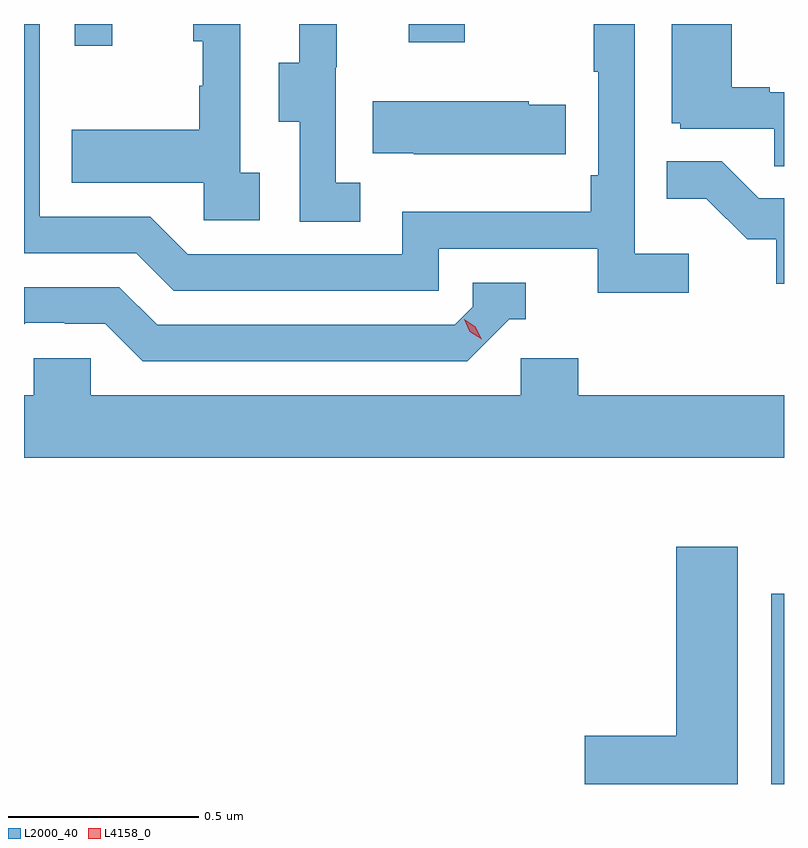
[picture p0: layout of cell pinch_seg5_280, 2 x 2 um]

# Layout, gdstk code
import gdstk
lib = gdstk.Library(unit=1e-6, precision=1e-09)
def R(c, l, rs):  # rectangles x0, y0, x1, y1
    for r in rs: c.add(gdstk.rectangle(r[:2], r[2:], *l))
def P(c, l, *ps):  # polygons
    for p in ps: c.add(gdstk.Polygon(p, *l))
L2000_40 = (2000, 40)
L4158_0 = (4158, 0)

pinch_seg5_280 = lib.new_cell('pinch_seg5_280')
R(pinch_seg5_280, L2000_40, [(890.436,899.857,890.469,900.358), (888.603,901.8,888.701,901.857), (889.481,901.809,889.629,901.857)])
P(pinch_seg5_280, L2000_40, [(890.218,901.252),(890.076,901.252),(890.076,901.857),(889.968,901.857),(889.968,901.732),(889.98,901.732),(889.98,901.459),(889.96,901.459),(889.96,901.363),(889.464,901.363),(889.464,901.251),(888.9,901.251),(888.801,901.35),(888.51,901.35),(888.51,901.857),(888.469,901.857),(888.469,901.254),(888.764,901.254),(888.863,901.155),(889.56,901.155),(889.56,901.266),(889.979,901.266),(889.979,901.15),(890.218,901.15)],
  [(889.09,901.466),(889.038,901.466),(889.038,901.857),(888.914,901.857),(888.914,901.812),(888.94,901.812),(888.94,901.694),(888.93,901.694),(888.93,901.579),(888.595,901.579),(888.595,901.439),(888.942,901.439),(888.942,901.341),(889.09,901.341)],
  [(889.354,901.439),(889.29,901.439),(889.29,901.743),(889.292,901.743),(889.292,901.857),(889.193,901.857),(889.193,901.755),(889.139,901.755),(889.139,901.6),(889.194,901.6),(889.194,901.336),(889.354,901.336)],
  [(890.469,901.677),(890.432,901.677),(890.432,901.69),(890.332,901.69),(890.332,901.857),(890.174,901.857),(890.174,901.596),(890.196,901.596),(890.196,901.581),(890.443,901.581),(890.443,901.483),(890.469,901.483)],
  [(889.895,901.644),(889.797,901.644),(889.797,901.654),(889.387,901.654),(889.387,901.517),(889.495,901.517),(889.495,901.514),(889.895,901.514)],
  [(890.469,901.398),(890.403,901.398),(890.305,901.496),(890.161,901.496),(890.161,901.397),(890.265,901.397),(890.372,901.29),(890.449,901.29),(890.449,901.173),(890.469,901.173)],
  [(889.746,901.08),(889.789,901.08),(889.789,901.176),(889.65,901.176),(889.65,901.113),(889.602,901.065),(888.819,901.065),(888.72,901.164),(888.469,901.164),(888.469,901.067),(888.473,901.071),(888.576,901.071),(888.576,901.068),(888.683,901.068),(888.782,900.969),(889.635,900.969)],
  [(890.469,900.88),(889.928,900.88),(889.928,900.978),(889.776,900.978),(889.776,900.88),(888.645,900.88),(888.645,900.978),(888.495,900.978),(888.495,900.88),(888.469,900.88),(888.469,900.716),(890.469,900.716)],
  [(890.347,900.481),(890.186,900.481),(890.186,899.984),(889.944,899.984),(889.944,899.857),(890.347,899.857)])
P(pinch_seg5_280, L4158_0, [(889.673,901.027),(889.642,901.047),(889.627,901.08),(889.627,901.08),(889.627,901.08),(889.657,901.06),(889.673,901.027),(889.673,901.027)])

lib.write_gds('pinch_seg5_280.gds')
